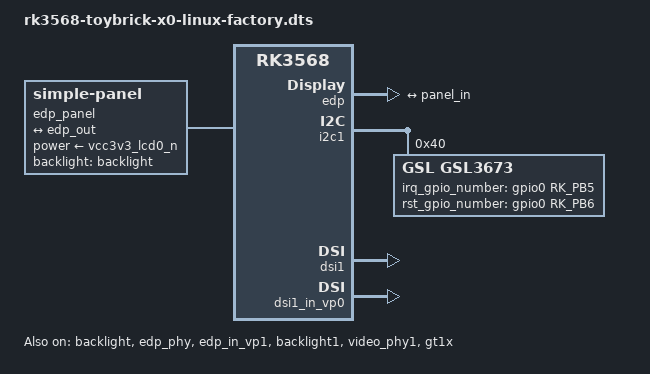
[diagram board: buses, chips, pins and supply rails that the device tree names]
// SPDX-License-Identifier: (GPL-2.0+ OR MIT)
/*
 * Copyright (c) 2020 Rockchip Electronics Co., Ltd.
 *
 */
/dts-v1/;
#include "rk3568.dtsi"
#include "rk3568-linux.dtsi"
#include "rk3568-toybrick-x0.dtsi"
/delete-node/ &board_id;
/ {
	compatible = "rockchip,rk3568-toybrick-core-linux-factory-edp-mipi1-x0", "rockchip,rk3568";

	edp_panel: edp_panel {
		compatible = "simple-panel";
		backlight = <&backlight>;
		prepare-delay-ms = <20>;
		enable-delay-ms = <20>;
		reset-delay-ms = <20>;

		display-timings {
			native-mode = <&timing0>;

			timing0: timing0 {
				clock-frequency = <200000000>;
				hactive = <1536>;
				vactive = <2048>;
				hfront-porch = <12>;
				hsync-len = <16>;
				hback-porch = <48>;
				vfront-porch = <8>;
				vsync-len = <4>;
				vback-porch = <8>;
				hsync-active = <0>;
				vsync-active = <0>;
				de-active = <0>;
				pixelclk-active = <0>;
			};
		};

		ports {
			panel_in: endpoint {
				remote-endpoint = <&edp_out>;
			};
		};
	};
};

&backlight {
	status = "okay";
};

&edp {
	status = "okay";
	force-hpd;

	ports {
		port@1 {
			reg = <1>;

			edp_out: endpoint {
				remote-endpoint = <&panel_in>;
			};
		};
	};

};

&edp_phy {
	status = "okay";
};

&edp_in_vp0 {
	status = "disabled";
};

&edp_in_vp1 {
	status = "okay";
};

&edp_panel {
	power-supply = <&vcc3v3_lcd0_n>;
};

&i2c1 {
	status = "okay";
	i2c-scl-rising-time-ns = <600>;
	i2c-scl-falling-time-ns = <20>;
	gsl3673: gsl3673@40 {
		status = "okay";
		compatible = "GSL,GSL3673";
		reg = <0x40>;
		screen_max_x = <1536>;
		screen_max_y = <2048>;
		irq_gpio_number = <&gpio0 RK_PB5 IRQ_TYPE_LEVEL_LOW>;
		rst_gpio_number = <&gpio0 RK_PB6 GPIO_ACTIVE_HIGH>;
	};
};

&vcc3v3_lcd0_n {
	gpio = <&gpio0 RK_PC7 GPIO_ACTIVE_HIGH>;
	enable-active-high;
};

&hdmi {
		status = "disabled";
};

&dsi0 {
	status = "disabled";
};

/*
 * mipi_dphy1 needs to be enabled
 * when dsi1 is enabled
 */
&dsi1 {
	status = "okay";
};

&dsi1_in_vp0 {
	status = "okay";
};

&dsi1_in_vp1 {
	status = "disabled";
};

&dsi1_panel {
	power-supply = <&vcc3v3_lcd1_n>;
};

&backlight1 {
	status = "okay";
};

&video_phy1 {
	status = "okay";
};

&gt1x {
	status = "okay";
	power-supply = <&vcc3v3_lcd0_n>;
};

&vcc3v3_lcd0_n {
	gpio = <&gpio0 RK_PC7 GPIO_ACTIVE_HIGH>;
	enable-active-high;
};

&vcc3v3_lcd1_n {
	gpio = <&gpio0 RK_PC5 GPIO_ACTIVE_HIGH>;
	enable-active-high;
};

